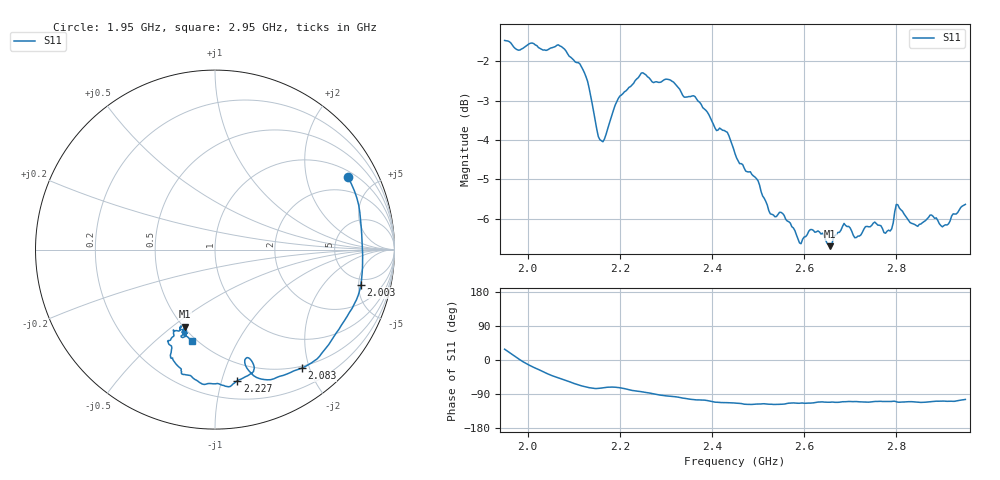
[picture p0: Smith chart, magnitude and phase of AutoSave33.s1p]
!Agilent N9923A: A.07.32
!Date: Thursday, 02 June 2016 23:00:28
!Model: N9923A
!Serial: MY52412257
!GPS Latitude:
!GPS Longitude:
!GPS TimeStamp: 0001-01-01 00:00:00Z
!GPS Seconds Since Last Read: 0
!CHECKSUM:2059418579
!Correction: S11(ON U)
!S1P File: Measurement: S11:
# Hz S DB R 50
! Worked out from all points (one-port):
!   301 points, 1.95 GHz to 2.95 GHz, reference 50 ohm
!   lowest |S11| = -6.7 dB at 2.657 GHz (marker M1), VSWR 2.72, Z = 25.3 - j27.7 ohm
!   |S11| at or under -10 dB: nowhere
!   S11 on the Smith chart (normalised r, x): 1.95 GHz: 1.25, +3.52; 2.003 GHz: 4.09, -5.33; 2.083 GHz: 0.47, -1.88; 2.227 GHz: 0.35, -1.12; 2.95 GHz: 0.48, -0.66
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1.95e9  -1.47 28.5
1.966667e9  -1.59 14.3
2.003333e9  -1.56 -13.6
2.05e9  -1.66 -39.9
2.076667e9  -1.66 -50.9
2.083333e9  -1.74 -53.9
2.116667e9  -2.14 -68.2
2.13e9  -2.51 -72.0
2.146667e9  -3.52 -75.3
2.166667e9  -3.98 -72.7
2.186667e9  -3.23 -71.5
2.203333e9  -2.86 -73.9
2.226667e9  -2.60 -80.3
2.25e9  -2.29 -84.4
2.326667e9  -2.67 -98.1
2.363333e9  -2.90 -105.1
2.406667e9  -3.70 -111.2
2.453333e9  -4.46 -113.7
2.483333e9  -4.81 -117.3
2.526667e9  -5.88 -116.7
2.576667e9  -6.24 -113.3
2.656667e9  -6.70 -111.5
2.703333e9  -6.32 -109.8
2.786667e9  -6.32 -109.9
2.8e9  -5.64 -110.1
2.826667e9  -6.05 -110.0
2.926667e9  -5.89 -109.0
2.95e9  -5.64 -104.1
